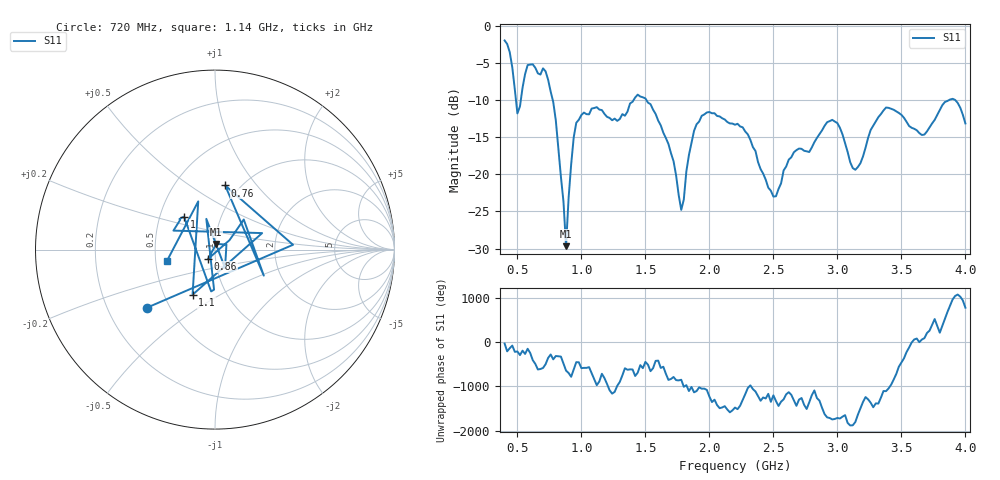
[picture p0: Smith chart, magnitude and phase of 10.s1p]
!Created with skrf (http://scikit-rf.org).
# Hz S RI R 50.0
!freq ReS11 ImS11
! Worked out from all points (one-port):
!   181 points, 400 MHz to 4 GHz, reference 50 ohm
!   lowest |S11| = -29.7 dB at 880 MHz (marker M1), VSWR 1.07, Z = 50.6 + j3.25 ohm
!   |S11| at or under -10 dB: 776.7 MHz to 1.406 GHz (629.7 MHz wide, 57.7 % of centre); 1.509 GHz to 3.868 GHz (2.359 GHz wide, 87.7 % of centre); 3.923 GHz to end of sweep (the widest 3 of 4)
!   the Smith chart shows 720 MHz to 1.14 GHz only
!   S11 on the Smith chart (normalised r, x): 720 MHz: 0.38, -0.32; 760 MHz: 0.85, +0.70; 860 MHz: 0.92, -0.10; 1 GHz: 0.66, +0.26; 1.1 GHz: 0.69, -0.38; 1.14 GHz: 0.57, -0.08
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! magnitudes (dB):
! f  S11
! 400 MHz  -1.9
! 500 MHz  -11.8
! 580 MHz  -5.2
! 720 MHz  -6.1
! 760 MHz  -8.8
! 860 MHz  -23.7
! 880 MHz  -29.7
! 940 MHz  -15.0
! 1 GHz  -12.0
! 1.1 GHz  -11.0
! 1.14 GHz  -11.2
! 1.3 GHz  -12.5
! 1.54 GHz  -10.5
! 1.68 GHz  -15.9
! 1.76 GHz  -22.8
! 1.78 GHz  -24.8
! 1.88 GHz  -14.1
! 1.94 GHz  -12.1
! 2.2 GHz  -13.3
! 2.5 GHz  -23.0
! 2.66 GHz  -17.0
! 2.96 GHz  -12.6
! 3.1 GHz  -18.3
! 3.38 GHz  -11.0
! 3.56 GHz  -13.5
! 3.68 GHz  -14.6
! 3.9 GHz  -9.8
! 4 GHz  -13.1
